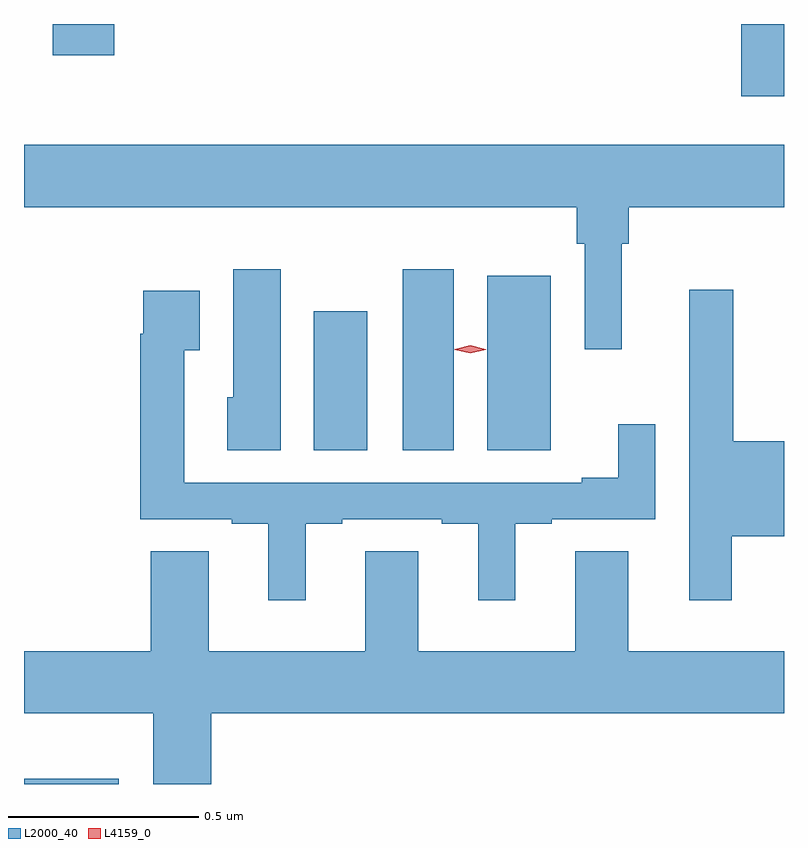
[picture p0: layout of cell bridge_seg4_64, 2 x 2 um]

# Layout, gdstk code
import gdstk
lib = gdstk.Library(unit=1e-6, precision=1e-09)
def R(c, l, rs):  # rectangles x0, y0, x1, y1
    for r in rs: c.add(gdstk.rectangle(r[:2], r[2:], *l))
def P(c, l, *ps):  # polygons
    for p in ps: c.add(gdstk.Polygon(p, *l))
L2000_40 = (2000, 40)
L4159_0 = (4159, 0)

bridge_seg4_64 = lib.new_cell('bridge_seg4_64')
R(bridge_seg4_64, L2000_40, [(844.795,829.934,845.044,829.948), (845.558,830.812,845.698,831.178), (845.792,830.812,845.926,831.289), (846.014,830.812,846.181,831.271), (846.683,831.744,846.795,831.934), (844.871,831.852,845.032,831.934)])
P(bridge_seg4_64, L2000_40, [(844.795,831.452),(846.25,831.452),(846.25,831.356),(846.27,831.356),(846.27,831.078),(846.368,831.078),(846.368,831.356),(846.386,831.356),(846.386,831.452),(846.795,831.452),(846.795,831.616),(844.795,831.616)],
  [(845.47,831.289),(845.345,831.289),(845.345,830.952),(845.33,830.952),(845.33,830.812),(845.47,830.812)],
  [(846.658,830.586),(846.795,830.586),(846.795,830.836),(846.662,830.836),(846.662,831.235),(846.545,831.235),(846.545,830.932),(846.546,830.932),(846.546,830.418),(846.658,830.418)],
  [(845.536,830.619),(845.632,830.619),(845.632,830.631),(845.894,830.631),(845.894,830.619),(845.99,830.619),(845.99,830.418),(846.088,830.418),(846.088,830.619),(846.184,830.619),(846.184,830.631),(846.456,830.631),(846.456,830.881),(846.359,830.881),(846.359,830.74),(846.263,830.74),(846.263,830.727),(845.217,830.727),(845.217,831.076),(845.257,831.076),(845.257,831.232),(845.109,831.232),(845.109,831.119),(845.101,831.119),(845.101,830.631),(845.342,830.631),(845.342,830.619),(845.438,830.619),(845.438,830.418),(845.536,830.418)],
  [(845.288,830.12),(846.795,830.12),(846.795,830.284),(846.385,830.284),(846.385,830.546),(846.245,830.546),(846.245,830.284),(845.833,830.284),(845.833,830.546),(845.693,830.546),(845.693,830.284),(845.281,830.284),(845.281,830.546),(845.129,830.546),(845.129,830.284),(844.795,830.284),(844.795,830.12),(845.135,830.12),(845.135,829.934),(845.288,829.934)])
P(bridge_seg4_64, L4159_0, [(845.969,831.068),(845.928,831.077),(845.928,831.078),(845.928,831.078),(845.969,831.088),(846.01,831.078),(846.01,831.077),(846.01,831.077)])

lib.write_gds('bridge_seg4_64.gds')
